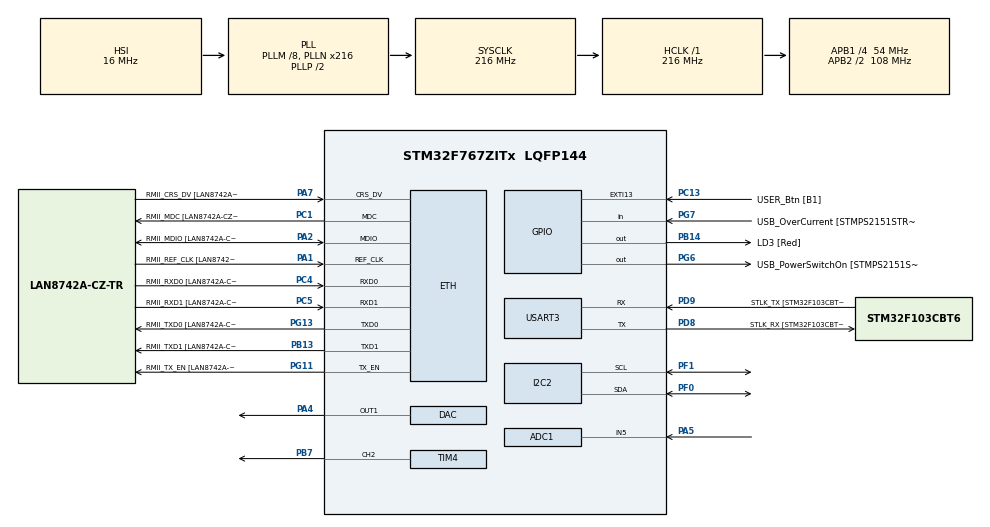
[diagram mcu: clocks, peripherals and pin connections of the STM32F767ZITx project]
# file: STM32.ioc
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ADC1.Channel-5\#ChannelRegularConversion=ADC_CHANNEL_5
ADC1.ClockPrescaler=ADC_CLOCK_SYNC_PCLK_DIV4
ADC1.ContinuousConvMode=DISABLE
ADC1.DMAContinuousRequests=ENABLE
ADC1.DataAlign=ADC_DATAALIGN_RIGHT
ADC1.DiscontinuousConvMode=DISABLE
ADC1.EOCSelection=ADC_EOC_SEQ_CONV
ADC1.EnableAnalogWatchDog=true
ADC1.ExternalTrigConv=ADC_EXTERNALTRIGCONV_T2_TRGO
ADC1.ExternalTrigConvEdge=ADC_EXTERNALTRIGCONVEDGE_RISING
ADC1.InjNumberOfConversion=0
ADC1.NbrOfConversion=1
ADC1.NbrOfConversionFlag=1
ADC1.Rank-5\#ChannelRegularConversion=1
ADC1.Resolution=ADC_RESOLUTION_12B
ADC1.SamplingTime-5\#ChannelRegularConversion=ADC_SAMPLETIME_3CYCLES
ADC1.ScanConvMode=DISABLE
ADC1.WatchdogChannel=ADC_CHANNEL_5
ADC1.master=1
DAC.DAC_Trigger=DAC_TRIGGER_T7_TRGO
Dma.ADC1.1.Direction=DMA_PERIPH_TO_MEMORY
Dma.ADC1.1.FIFOMode=DMA_FIFOMODE_DISABLE
Dma.ADC1.1.Instance=DMA2_Stream0
Dma.ADC1.1.MemDataAlignment=DMA_MDATAALIGN_HALFWORD
Dma.ADC1.1.MemInc=DMA_MINC_ENABLE
Dma.ADC1.1.Mode=DMA_NORMAL
Dma.ADC1.1.PeriphDataAlignment=DMA_PDATAALIGN_HALFWORD
Dma.ADC1.1.PeriphInc=DMA_PINC_DISABLE
Dma.ADC1.1.Priority=DMA_PRIORITY_LOW
Dma.DAC1.0.Direction=DMA_MEMORY_TO_PERIPH
Dma.DAC1.0.FIFOMode=DMA_FIFOMODE_DISABLE
Dma.DAC1.0.Instance=DMA1_Stream5
Dma.DAC1.0.MemDataAlignment=DMA_MDATAALIGN_HALFWORD
Dma.DAC1.0.MemInc=DMA_MINC_ENABLE
Dma.DAC1.0.Mode=DMA_CIRCULAR
Dma.DAC1.0.PeriphDataAlignment=DMA_PDATAALIGN_HALFWORD
Dma.DAC1.0.PeriphInc=DMA_PINC_DISABLE
Dma.DAC1.0.Priority=DMA_PRIORITY_LOW
Dma.Request0=DAC1
Dma.Request1=ADC1
ETH.AutoNegotiation=ETH_AUTONEGOTIATION_ENABLE
ETH.MediaInterface=ETH_MEDIA_INTERFACE_RMII
ETH.PhyAddress=0
FREERTOS.Tasks01=defaultTask,0,128,StartDefaultTask,Default,NULL,Dynamic,NULL,NULL;myTask02,-3,128,StartTask02,Default,NULL,Dynamic,NULL,NULL
FREERTOS.configTOTAL_HEAP_SIZE=50000
I2C2.Timing=0x20404768
LWIP.IP_ADDRESS=192.168.000.010
LWIP.LWIP_DHCP=0
LWIP.LWIP_IPV6=0
LWIP.NETMASK_ADDRESS=255.255.255.000
LWIP.Version=v2.0.3_Cube
Mcu.Family=STM32F7
Mcu.Name=STM32F767ZITx
Mcu.Package=LQFP144
NVIC.ADC_IRQn=true\:5\:0\:false\:false\:true\:true\:true
NVIC.DMA1_Stream5_IRQn=true\:5\:0\:false\:false\:true\:true\:false
NVIC.DMA2_Stream0_IRQn=true\:5\:0\:false\:false\:true\:true\:false
NVIC.ETH_IRQn=true\:5\:0\:false\:false\:true\:true\:true
NVIC.ETH_WKUP_IRQn=true\:5\:0\:false\:false\:true\:true\:true
NVIC.EXTI15_10_IRQn=true\:5\:0\:false\:false\:true\:true\:true
NVIC.FLASH_IRQn=true\:5\:0\:false\:false\:true\:true\:true
NVIC.I2C2_ER_IRQn=true\:5\:0\:false\:false\:true\:true\:true
NVIC.I2C2_EV_IRQn=true\:5\:0\:false\:false\:true\:true\:true
NVIC.PriorityGroup=NVIC_PRIORITYGROUP_4
NVIC.TIM1_UP_TIM10_IRQn=true\:0\:0\:false\:false\:true\:false\:false
NVIC.TIM4_IRQn=true\:5\:0\:false\:false\:true\:true\:true
NVIC.TIM6_DAC_IRQn=true\:5\:0\:true\:false\:true\:true\:true
NVIC.TIM7_IRQn=true\:5\:0\:false\:false\:true\:true\:true
NVIC.TimeBase=TIM1_UP_TIM10_IRQn
NVIC.TimeBaseIP=TIM1
NVIC.USART3_IRQn=true\:5\:0\:false\:false\:true\:true\:true
NVIC.WWDG_IRQn=true\:5\:0\:false\:false\:true\:true\:true
PA1.GPIO_Label=RMII_REF_CLK [LAN8742A-CZ-TR_REFCLK0]
PA1.Mode=RMII
PA1.Signal=ETH_REF_CLK
PA10.GPIO_Label=USB_ID
PA10.Signal=USB_OTG_FS_ID
PA11.GPIO_Label=USB_DM
PA11.Signal=USB_OTG_FS_DM
PA12.GPIO_Label=USB_DP
PA12.Signal=USB_OTG_FS_DP
PA13.GPIO_Label=TMS
PA13.Mode=Serial_Wire
PA13.Signal=SYS_JTMS-SWDIO
PA14.GPIO_Label=TCK
PA14.Mode=Serial_Wire
PA14.Signal=SYS_JTCK-SWCLK
PA2.GPIO_Label=RMII_MDIO [LAN8742A-CZ-TR_MDIO]
PA2.Mode=RMII
PA2.Signal=ETH_MDIO
PA4.Signal=COMP_DAC1_group
PA5.Signal=ADCx_IN5
PA7.GPIO_Label=RMII_CRS_DV [LAN8742A-CZ-TR_CRS_DV]
PA7.Mode=RMII
PA7.Signal=ETH_CRS_DV
PA8.GPIO_Label=USB_SOF [TP1]
PA8.Signal=USB_OTG_FS_SOF
PA9.GPIO_Label=USB_VBUS
PA9.Signal=USB_OTG_FS_VBUS
PB13.GPIO_Label=RMII_TXD1 [LAN8742A-CZ-TR_TXD1]
PB13.Mode=RMII
PB13.Signal=ETH_TXD1
PB14.GPIO_Label=LD3 [Red]
PB14.Signal=GPIO_Output
PB3.GPIO_Label=SW0
PB3.Signal=SYS_JTDO-SWO
PB7.Signal=S_TIM4_CH2
PB8.Signal=I2C1_SCL
PC1.GPIO_Label=RMII_MDC [LAN8742A-CZ-TR_MDC]
PC1.Mode=RMII
PC1.Signal=ETH_MDC
PC13.GPIO_Label=USER_Btn [B1]
PC13.GPIO_PuPd=GPIO_PULLDOWN
PC13.Signal=GPXTI13
PC14/OSC32_IN.Signal=RCC_OSC32_IN
PC15/OSC32_OUT.Signal=RCC_OSC32_OUT
PC4.GPIO_Label=RMII_RXD0 [LAN8742A-CZ-TR_RXD0]
PC4.Mode=RMII
PC4.Signal=ETH_RXD0
PC5.GPIO_Label=RMII_RXD1 [LAN8742A-CZ-TR_RXD1]
PC5.Mode=RMII
PC5.Signal=ETH_RXD1
PD8.GPIO_Label=STLK_RX [STM32F103CBT6_PA3]
PD8.Mode=Asynchronous
PD8.Signal=USART3_TX
PD9.GPIO_Label=STLK_TX [STM32F103CBT6_PA2]
PD9.Mode=Asynchronous
PD9.Signal=USART3_RX
PF0.Mode=I2C
PF0.Signal=I2C2_SDA
PF1.Mode=I2C
PF1.Signal=I2C2_SCL
PG11.GPIO_Label=RMII_TX_EN [LAN8742A-CZ-TR_TXEN]
PG11.Mode=RMII
PG11.Signal=ETH_TX_EN
PG13.GPIO_Label=RMII_TXD0 [LAN8742A-CZ-TR_TXD0]
PG13.Mode=RMII
PG13.Signal=ETH_TXD0
PG6.GPIO_Label=USB_PowerSwitchOn [STMPS2151STR_EN]
PG6.Signal=GPIO_Output
PG7.GPIO_Label=USB_OverCurrent [STMPS2151STR_FAULT]
PG7.Signal=GPIO_Input
PH0/OSC_IN.GPIO_Label=MCO [STM32F103CBT6_PA8]
PH0/OSC_IN.Mode=HSE-External-Oscillator
PH0/OSC_IN.Signal=RCC_OSC_IN
PH1/OSC_OUT.Mode=HSE-External-Oscillator
PH1/OSC_OUT.Signal=RCC_OSC_OUT
ProjectManager.HeapSize=0x200
ProjectManager.StackSize=0x400
ProjectManager.TargetToolchain=Makefile
RCC.48MHZClocksFreq_Value=24000000
RCC.AHBFreq_Value=216000000
RCC.APB1CLKDivider=RCC_HCLK_DIV4
RCC.APB1Freq_Value=54000000
RCC.APB1TimFreq_Value=108000000
RCC.APB2CLKDivider=RCC_HCLK_DIV2
RCC.APB2Freq_Value=108000000
RCC.APB2TimFreq_Value=216000000
RCC.CortexFreq_Value=216000000
RCC.HCLKFreq_Value=216000000
RCC.HSE_VALUE=16000000
RCC.HSI_VALUE=16000000
RCC.LSE_VALUE=32768
RCC.PLLM=8
RCC.PLLMUL=RCC_PLL_MUL9
RCC.PLLN=216
RCC.PRESCALERUSB=RCC_USBCLKSOURCE_PLL_DIV1_5
RCC.SYSCLKFreq_VALUE=216000000
RCC.SYSCLKSource=RCC_SYSCLKSOURCE_PLLCLK
RCC.SYSCLKSourceVirtual=RCC_SYSCLKSOURCE_PLLCLK
RCC.USBFreq_Value=216000000
RCC.VCOOutputFreq_Value=432000000
SH.ADCx_IN5.0=ADC1_IN5,IN5
SH.COMP_DAC1_group.0=DAC_OUT1,DAC_OUT1
SH.S_TIM4_CH2.0=TIM4_CH2,PWM Generation2 CH2
TIM2.Period=1
TIM2.Prescaler=84
TIM2.TIM_MasterOutputTrigger=TIM_TRGO_UPDATE
TIM4.Channel-PWM\ Generation2\ CH2=TIM_CHANNEL_2
TIM4.Period=65535
TIM4.Prescaler=512
TIM6.Period=500
TIM6.Prescaler=53999
TIM6.TIM_MasterOutputTrigger=TIM_TRGO_UPDATE
TIM7.Period=1
TIM7.Prescaler=168
TIM7.TIM_MasterOutputTrigger=TIM_TRGO_UPDATE
USART3.VirtualMode-Asynchronous=VM_ASYNC
USART3.WordLength=WORDLENGTH_8B
VP_FREERTOS_VS_ENABLE.Mode=Enabled
VP_LWIP_VS_Enabled.Mode=Enabled
VP_SYS_VS_tim1.Mode=TIM1
VP_TIM2_VS_ClockSourceINT.Mode=Internal
VP_TIM4_VS_ClockSourceINT.Mode=Internal
VP_TIM6_VS_ClockSourceINT.Mode=Enable_Timer
VP_TIM7_VS_ClockSourceINT.Mode=Enable_Timer
VP_WWDG_VS_WWDG.Mode=WWDG_Activate
WWDG.Counter=127
WWDG.EWIMode=WWDG_EWI_ENABLE
WWDG.Window=125
board=NUCLEO-F767ZI

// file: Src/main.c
/**
  ******************************************************************************
  * @file           : main.c
  * @brief          : Main program body
  ******************************************************************************
  * This notice applies to any and all portions of this file
  * that are not between comment pairs USER CODE BEGIN and
  * USER CODE END. Other portions of this file, whether
  * inserted by the user or by software development tools
  * are owned by their respective copyright owners.
  *
  * Copyright (c) 2018 STMicroelectronics International N.V.
  * All rights reserved.
  *
  * Redistribution and use in source and binary forms, with or without
  * modification, are permitted, provided that the following conditions are met:
  *
  * 1. Redistribution of source code must retain the above copyright notice,
  *    this list of conditions and the following disclaimer.
  * 2. Redistributions in binary form must reproduce the above copyright notice,
  *    this list of conditions and the following disclaimer in the documentation
  *    and/or other materials provided with the distribution.
  * 3. Neither the name of STMicroelectronics nor the names of other
  *    contributors to this software may be used to endorse or promote products
  *    derived from this software without specific written permission.
  * 4. This software, including modifications and/or derivative works of this
  *    software, must execute solely and exclusively on microcontroller or
  *    microprocessor devices manufactured by or for STMicroelectronics.
  * 5. Redistribution and use of this software other than as permitted under
  *    this license is void and will automatically terminate your rights under
  *    this license.
  *
  * THIS SOFTWARE IS PROVIDED BY STMICROELECTRONICS AND CONTRIBUTORS "AS IS"
  * AND ANY EXPRESS, IMPLIED OR STATUTORY WARRANTIES, INCLUDING, BUT NOT
  * LIMITED TO, THE IMPLIED WARRANTIES OF MERCHANTABILITY, FITNESS FOR A
  * PARTICULAR PURPOSE AND NON-INFRINGEMENT OF THIRD PARTY INTELLECTUAL PROPERTY
  * RIGHTS ARE DISCLAIMED TO THE FULLEST EXTENT PERMITTED BY LAW. IN NO EVENT
  * SHALL STMICROELECTRONICS OR CONTRIBUTORS BE LIABLE FOR ANY DIRECT, INDIRECT,
  * INCIDENTAL, SPECIAL, EXEMPLARY, OR CONSEQUENTIAL DAMAGES (INCLUDING, BUT NOT
  * LIMITED TO, PROCUREMENT OF SUBSTITUTE GOODS OR SERVICES; LOSS OF USE, DATA,
  * OR PROFITS; OR BUSINESS INTERRUPTION) HOWEVER CAUSED AND ON ANY THEORY OF
  * LIABILITY, WHETHER IN CONTRACT, STRICT LIABILITY, OR TORT (INCLUDING
  * NEGLIGENCE OR OTHERWISE) ARISING IN ANY WAY OUT OF THE USE OF THIS SOFTWARE,
  * EVEN IF ADVISED OF THE POSSIBILITY OF SUCH DAMAGE.
  *
  ******************************************************************************
  */
#include "main.h"
#include "stm32f7xx_hal.h"
#include "cmsis_os.h"
#include "adc.h"
#include "dac.h"
#include "dma.h"
#include "i2c.h"
#include "lwip.h"
#include "tim.h"
#include "usart.h"
#include "wwdg.h"
#include "gpio.h"

/* USER CODE BEGIN Includes */
#include <inttypes.h>
#include <console.h>
#include <dac_set.h>
#include <adc_set.h>
/* USER CODE END Includes */

/* USER CODE BEGIN PV */
RingBuffer uartc_3;
uint8_t data[2];

/* Private variables ---------------------------------------------------------*/

/* USER CODE END PV */

void SystemClock_Config(void);
void MX_FREERTOS_Init(void);

/* USER CODE BEGIN PFP */

/* Private function prototypes -----------------------------------------------*/

/* USER CODE END PFP */

int main(void)
{
  /* USER CODE BEGIN 1 */
    initCLIUART(&uartc_3);
  /* USER CODE END 1 */

  /* MCU Configuration----------------------------------------------------------*/

  /* Reset of all peripherals, Initializes the Flash interface and the Systick. */
  HAL_Init();

  /* Configure the system clock */
  SystemClock_Config();

  /* Initialize all configured peripherals */
  MX_GPIO_Init();
  MX_DMA_Init();
  MX_TIM6_Init();
  MX_USART3_UART_Init();
  MX_WWDG_Init();
  MX_TIM4_Init();
  MX_DAC_Init();
  MX_TIM7_Init();
  MX_ADC1_Init();
  MX_TIM2_Init();
  MX_I2C2_Init();
  /* USER CODE BEGIN 2 */
  HAL_TIM_Base_Start(&htim6);
  HAL_TIM_Base_Start_IT(&htim6);
  DACSet();
  DACStart();
  startADC();
  HAL_UART_Transmit(&huart3, startMessage,strlen(startMessage),100);
  HAL_UART_Receive_IT(&huart3, &uartc_3.receivedSymbol, 1);
  data[0]='A';
  data[1]='B';
  HAL_I2C_Master_Receive(&hi2c2, 0x4E, data, 2, 50);
  /* USER CODE END 2 */

  /* Call init function for freertos objects (in freertos.c) */
  MX_FREERTOS_Init();

  /* Start scheduler */
  osKernelStart();

  /* We should never get here as control is now taken by the scheduler */

  /* Infinite loop */
  while (1)
  {

  }

}

void SystemClock_Config(void)
{

  RCC_OscInitTypeDef RCC_OscInitStruct;
  RCC_ClkInitTypeDef RCC_ClkInitStruct;
  RCC_PeriphCLKInitTypeDef PeriphClkInitStruct;

    /**Configure the main internal regulator output voltage
    */
  __HAL_RCC_PWR_CLK_ENABLE();

  __HAL_PWR_VOLTAGESCALING_CONFIG(PWR_REGULATOR_VOLTAGE_SCALE1);

    /**Initializes the CPU, AHB and APB busses clocks
    */
  RCC_OscInitStruct.OscillatorType = RCC_OSCILLATORTYPE_HSI;
  RCC_OscInitStruct.HSIState = RCC_HSI_ON;
  RCC_OscInitStruct.HSICalibrationValue = 16;
  RCC_OscInitStruct.PLL.PLLState = RCC_PLL_ON;
  RCC_OscInitStruct.PLL.PLLSource = RCC_PLLSOURCE_HSI;
  RCC_OscInitStruct.PLL.PLLM = 8;
  RCC_OscInitStruct.PLL.PLLN = 216;
  RCC_OscInitStruct.PLL.PLLP = RCC_PLLP_DIV2;
  RCC_OscInitStruct.PLL.PLLQ = 2;
  if (HAL_RCC_OscConfig(&RCC_OscInitStruct) != HAL_OK)
  {
    _Error_Handler(__FILE__, __LINE__);
  }

    /**Activate the Over-Drive mode
    */
  if (HAL_PWREx_EnableOverDrive() != HAL_OK)
  {
    _Error_Handler(__FILE__, __LINE__);
  }

    /**Initializes the CPU, AHB and APB busses clocks
    */
  RCC_ClkInitStruct.ClockType = RCC_CLOCKTYPE_HCLK|RCC_CLOCKTYPE_SYSCLK
                              |RCC_CLOCKTYPE_PCLK1|RCC_CLOCKTYPE_PCLK2;
  RCC_ClkInitStruct.SYSCLKSource = RCC_SYSCLKSOURCE_PLLCLK;
  RCC_ClkInitStruct.AHBCLKDivider = RCC_SYSCLK_DIV1;
  RCC_ClkInitStruct.APB1CLKDivider = RCC_HCLK_DIV4;
  RCC_ClkInitStruct.APB2CLKDivider = RCC_HCLK_DIV2;

  if (HAL_RCC_ClockConfig(&RCC_ClkInitStruct, FLASH_LATENCY_7) != HAL_OK)
  {
    _Error_Handler(__FILE__, __LINE__);
  }

  PeriphClkInitStruct.PeriphClockSelection = RCC_PERIPHCLK_USART3|RCC_PERIPHCLK_I2C2;
  PeriphClkInitStruct.Usart3ClockSelection = RCC_USART3CLKSOURCE_PCLK1;
  PeriphClkInitStruct.I2c2ClockSelection = RCC_I2C2CLKSOURCE_PCLK1;
  if (HAL_RCCEx_PeriphCLKConfig(&PeriphClkInitStruct) != HAL_OK)
  {
    _Error_Handler(__FILE__, __LINE__);
  }

    /**Configure the Systick interrupt time
    */
  HAL_SYSTICK_Config(HAL_RCC_GetHCLKFreq()/1000);

    /**Configure the Systick
    */
  HAL_SYSTICK_CLKSourceConfig(SYSTICK_CLKSOURCE_HCLK);

  /* SysTick_IRQn interrupt configuration */
  HAL_NVIC_SetPriority(SysTick_IRQn, 15, 0);
}

/* USER CODE BEGIN 4 */
void HAL_UART_RxCpltCallback(UART_HandleTypeDef *UartHandle)
{
  if(UartHandle->Instance == USART3) {
      monitor(&uartc_3);
      HAL_UART_Receive_IT(&huart3, &uartc_3.receivedSymbol, 1);
  }
}
/* USER CODE END 4 */

void HAL_TIM_PeriodElapsedCallback(TIM_HandleTypeDef *htim)
{
  if (htim->Instance == TIM1) {
    HAL_IncTick();
  }
}

void _Error_Handler(char *file, int line)
{
  while(1)
  {
  }
}

/************************ (C) COPYRIGHT STMicroelectronics *****END OF FILE****/

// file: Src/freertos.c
/**
  ******************************************************************************
  * File Name          : freertos.c
  * Description        : Code for freertos applications
  ******************************************************************************
  * This notice applies to any and all portions of this file
  * that are not between comment pairs USER CODE BEGIN and
  * USER CODE END. Other portions of this file, whether
  * inserted by the user or by software development tools
  * are owned by their respective copyright owners.
  *
  * Copyright (c) 2018 STMicroelectronics International N.V.
  * All rights reserved.
  *
  * Redistribution and use in source and binary forms, with or without
  * modification, are permitted, provided that the following conditions are met:
  *
  * 1. Redistribution of source code must retain the above copyright notice,
  *    this list of conditions and the following disclaimer.
  * 2. Redistributions in binary form must reproduce the above copyright notice,
  *    this list of conditions and the following disclaimer in the documentation
  *    and/or other materials provided with the distribution.
  * 3. Neither the name of STMicroelectronics nor the names of other
  *    contributors to this software may be used to endorse or promote products
  *    derived from this software without specific written permission.
  * 4. This software, including modifications and/or derivative works of this
  *    software, must execute solely and exclusively on microcontroller or
  *    microprocessor devices manufactured by or for STMicroelectronics.
  * 5. Redistribution and use of this software other than as permitted under
  *    this license is void and will automatically terminate your rights under
  *    this license.
  *
  * THIS SOFTWARE IS PROVIDED BY STMICROELECTRONICS AND CONTRIBUTORS "AS IS"
  * AND ANY EXPRESS, IMPLIED OR STATUTORY WARRANTIES, INCLUDING, BUT NOT
  * LIMITED TO, THE IMPLIED WARRANTIES OF MERCHANTABILITY, FITNESS FOR A
  * PARTICULAR PURPOSE AND NON-INFRINGEMENT OF THIRD PARTY INTELLECTUAL PROPERTY
  * RIGHTS ARE DISCLAIMED TO THE FULLEST EXTENT PERMITTED BY LAW. IN NO EVENT
  * SHALL STMICROELECTRONICS OR CONTRIBUTORS BE LIABLE FOR ANY DIRECT, INDIRECT,
  * INCIDENTAL, SPECIAL, EXEMPLARY, OR CONSEQUENTIAL DAMAGES (INCLUDING, BUT NOT
  * LIMITED TO, PROCUREMENT OF SUBSTITUTE GOODS OR SERVICES; LOSS OF USE, DATA,
  * OR PROFITS; OR BUSINESS INTERRUPTION) HOWEVER CAUSED AND ON ANY THEORY OF
  * LIABILITY, WHETHER IN CONTRACT, STRICT LIABILITY, OR TORT (INCLUDING
  * NEGLIGENCE OR OTHERWISE) ARISING IN ANY WAY OUT OF THE USE OF THIS SOFTWARE,
  * EVEN IF ADVISED OF THE POSSIBILITY OF SUCH DAMAGE.
  *
  ******************************************************************************
  */

#include "FreeRTOS.h"
#include "task.h"
#include "cmsis_os.h"

/* USER CODE BEGIN Includes */
#include "flash.h"
#include "console.h"
#include "lcd2004a.h"
/* USER CODE END Includes */

osThreadId defaultTaskHandle;
osThreadId myTask02Handle;

/* USER CODE BEGIN Variables */
extern RingBuffer uartc_3;
extern I2C_HandleTypeDef hi2c2;
char str[40];
struct communicationParameters LCD_1 = {&hi2c2, 0x27};
/* USER CODE END Variables */

void StartDefaultTask(void const * argument);
void StartTask02(void const * argument);

extern void MX_LWIP_Init(void);
void MX_FREERTOS_Init(void); /* (MISRA C 2004 rule 8.1) */

/* USER CODE BEGIN FunctionPrototypes */
extern void tcpEcho(void);
/* USER CODE END FunctionPrototypes */

/* Hook prototypes */

/* Init FreeRTOS */

void MX_FREERTOS_Init(void) {

  /* Create the thread(s) */
  /* definition and creation of defaultTask */
  osThreadDef(defaultTask, StartDefaultTask, osPriorityNormal, 0, 128);
  defaultTaskHandle = osThreadCreate(osThread(defaultTask), NULL);

  /* definition and creation of myTask02 */
  osThreadDef(myTask02, StartTask02, osPriorityIdle, 0, 128);
  myTask02Handle = osThreadCreate(osThread(myTask02), NULL);

}

/* StartDefaultTask function */
void StartDefaultTask(void const * argument)
{
  /* init code for LWIP */
  MX_LWIP_Init();

  /* USER CODE BEGIN StartDefaultTask */
  /* Infinite loop */
  tcpEcho();

/*  char str[100];
  LCD_ini(LCD_1);
  sprintf(str,"STM32F767ZI");
      LCD_String(LCD_1, str);
      LCD_SetCursor(LCD_1, 3, 0);
      sprintf(str,"Nucleo");
      LCD_String(LCD_1, str);
      HAL_Delay(2000);
      LCD_Clear(LCD_1);
      LCD_SetCursor(LCD_1, 0, 4);
      LCD_SendChar(LCD_1, 's');
      LCD_SetCursor(LCD_1, 1, 8);
      LCD_SendChar(LCD_1, 't');
      LCD_SetCursor(LCD_1, 2, 12);
      LCD_SendChar(LCD_1, 'm');
      LCD_SetCursor(LCD_1, 3, 16);
      LCD_SendChar(LCD_1, '3');
      LCD_SendChar(LCD_1, '2');*/
  /* USER CODE END StartDefaultTask */
}

/* StartTask02 function */
void StartTask02(void const * argument)
{
  /* USER CODE BEGIN StartTask02 */
    for(;;){
        handlerCLIUART(&uartc_3, sendingToUART);
        for(int i =65535; i>0; i--){
            TIM4->CCR2=i;/* для PWM , изменяется скважность*/
        }
        osDelay(1);
    }
  /* USER CODE END StartTask02 */
}

/************************ (C) COPYRIGHT STMicroelectronics *****END OF FILE****/
